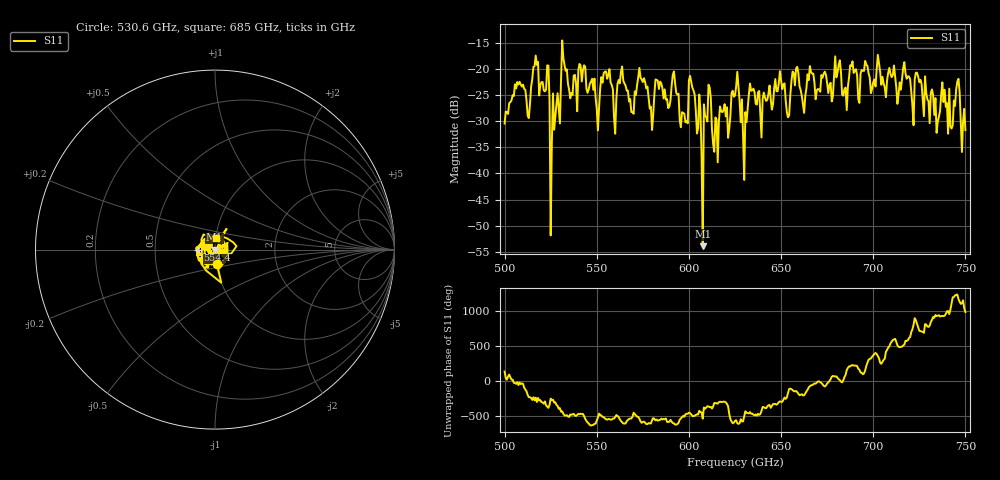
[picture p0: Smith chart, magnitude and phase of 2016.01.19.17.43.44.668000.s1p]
!Created with skrf (http://scikit-rf.org).
# GHz S RI R 50.0
!freq ReS11 ImS11
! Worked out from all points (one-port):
!   401 points, 500 GHz to 750 GHz, reference 50 ohm
!   lowest |S11| = -53.9 dB at 607.5 GHz (marker M1), VSWR 1.00, Z = 49.8 + j0.00937 ohm
!   |S11| at or under -10 dB: start of sweep to end of sweep
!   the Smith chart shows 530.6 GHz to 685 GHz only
!   S11 on the Smith chart (normalised r, x): 530.6 GHz: 1.01, -0.16; 554.4 GHz: 0.83, -0.01; 685 GHz: 1.01, +0.13
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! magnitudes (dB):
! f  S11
! 500 GHz  -30.4
! 506.9 GHz  -22.5
! 513.1 GHz  -29.4
! 516.9 GHz  -17.4
! 523.1 GHz  -19.3
! 526.2 GHz  -24.7
! 530.6 GHz  -22.0
! 531.2 GHz  -14.5
! 550.6 GHz  -31.8
! 554.4 GHz  -20.5
! 559.4 GHz  -29.3
! 562.5 GHz  -22.8
! 593.8 GHz  -24.9
! 598.1 GHz  -30.2
! 601.2 GHz  -22.5
! 607.5 GHz  -53.9
! 610.6 GHz  -23.0
! 614.4 GHz  -29.3
! 625 GHz  -25.1
! 630.6 GHz  -28.3
! 633.8 GHz  -24.2
! 656.2 GHz  -20.5
! 685 GHz  -23.5
! 687.5 GHz  -19.3
! 718.8 GHz  -21.4
! 741.9 GHz  -31.0
! 745.6 GHz  -22.4
! 750 GHz  -31.7
